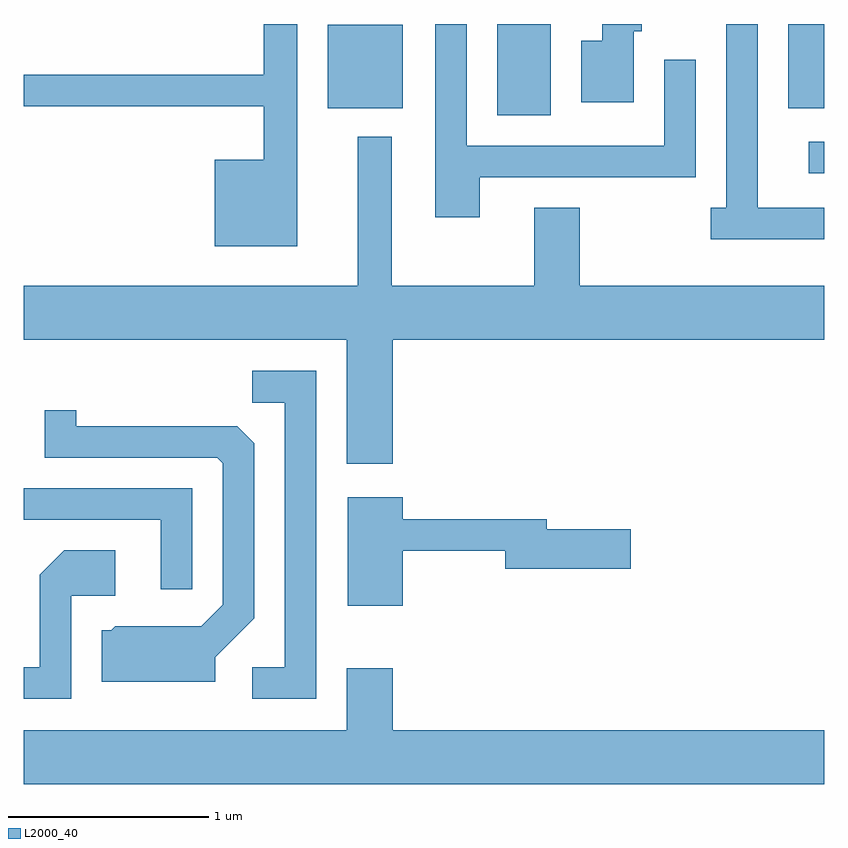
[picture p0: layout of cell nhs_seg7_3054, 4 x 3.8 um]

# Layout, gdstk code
import gdstk
lib = gdstk.Library(unit=1e-6, precision=1e-09)
def R(c, l, rs):  # rectangles x0, y0, x1, y1
    for r in rs: c.add(gdstk.rectangle(r[:2], r[2:], *l))
def P(c, l, *ps):  # polygons
    for p in ps: c.add(gdstk.Polygon(p, *l))
L2000_40 = (2000, 40)

nhs_seg7_3054 = lib.new_cell('nhs_seg7_3054')
R(nhs_seg7_3054, L2000_40, [(281.533,1799.506,281.611,1799.664), (279.976,1799.796,280.244,1800.252), (279.131,1799.831,279.504,1800.249), (281.431,1799.831,281.611,1800.252)])
P(nhs_seg7_3054, L2000_40, [(280.659,1800.216),(280.699,1800.216),(280.699,1800.252),(280.501,1800.252),(280.501,1800.169),(280.396,1800.169),(280.396,1799.861),(280.659,1799.861)],
  [(281.611,1799.334),(281.279,1799.334),(281.279,1800.252),(281.121,1800.252),(281.121,1799.334),(281.043,1799.334),(281.043,1799.176),(281.611,1799.176)],
  [(278.979,1800.252),(278.811,1800.252),(278.811,1799.999),(277.611,1799.999),(277.611,1799.841),(278.811,1799.841),(278.811,1799.574),(278.566,1799.574),(278.566,1799.141),(278.979,1799.141)],
  [(279.889,1799.486),(280.969,1799.486),(280.969,1800.073),(280.811,1800.073),(280.811,1799.644),(279.824,1799.644),(279.824,1800.252),(279.666,1800.252),(279.666,1799.286),(279.889,1799.286)],
  [(279.454,1798.676),(281.611,1798.676),(281.611,1798.944),(280.389,1798.944),(280.389,1799.334),(280.161,1799.334),(280.161,1798.944),(279.449,1798.944),(279.449,1799.688),(279.281,1799.688),(279.281,1798.944),(277.611,1798.944),(277.611,1798.676),(279.226,1798.676),(279.226,1798.056),(279.454,1798.056)],
  [(279.074,1798.519),(278.753,1798.519),(278.753,1798.361),(278.916,1798.361),(278.916,1797.039),(278.753,1797.039),(278.753,1796.881),(279.074,1796.881)],
  [(278.569,1797.089),(278.764,1797.284),(278.764,1798.159),(278.679,1798.244),(277.874,1798.244),(277.874,1798.323),(277.716,1798.323),(277.716,1798.086),(278.579,1798.086),(278.606,1798.059),(278.606,1797.352),(278.499,1797.244),(278.069,1797.244),(278.049,1797.224),(278.001,1797.224),(278.001,1796.966),(278.569,1796.966)],
  [(278.454,1797.934),(277.611,1797.934),(277.611,1797.776),(278.296,1797.776),(278.296,1797.428),(278.454,1797.428)],
  [(279.504,1797.621),(280.016,1797.621),(280.016,1797.531),(280.644,1797.531),(280.644,1797.729),(280.224,1797.729),(280.224,1797.779),(279.504,1797.779),(279.504,1797.889),(279.231,1797.889),(279.231,1797.346),(279.504,1797.346)],
  [(277.849,1797.396),(278.069,1797.396),(278.069,1797.624),(277.814,1797.624),(277.691,1797.502),(277.691,1797.039),(277.611,1797.039),(277.611,1796.881),(277.849,1796.881)],
  [(281.611,1796.724),(279.454,1796.724),(279.454,1797.034),(279.226,1797.034),(279.226,1796.724),(277.611,1796.724),(277.611,1796.456),(281.611,1796.456)])

lib.write_gds('nhs_seg7_3054.gds')
